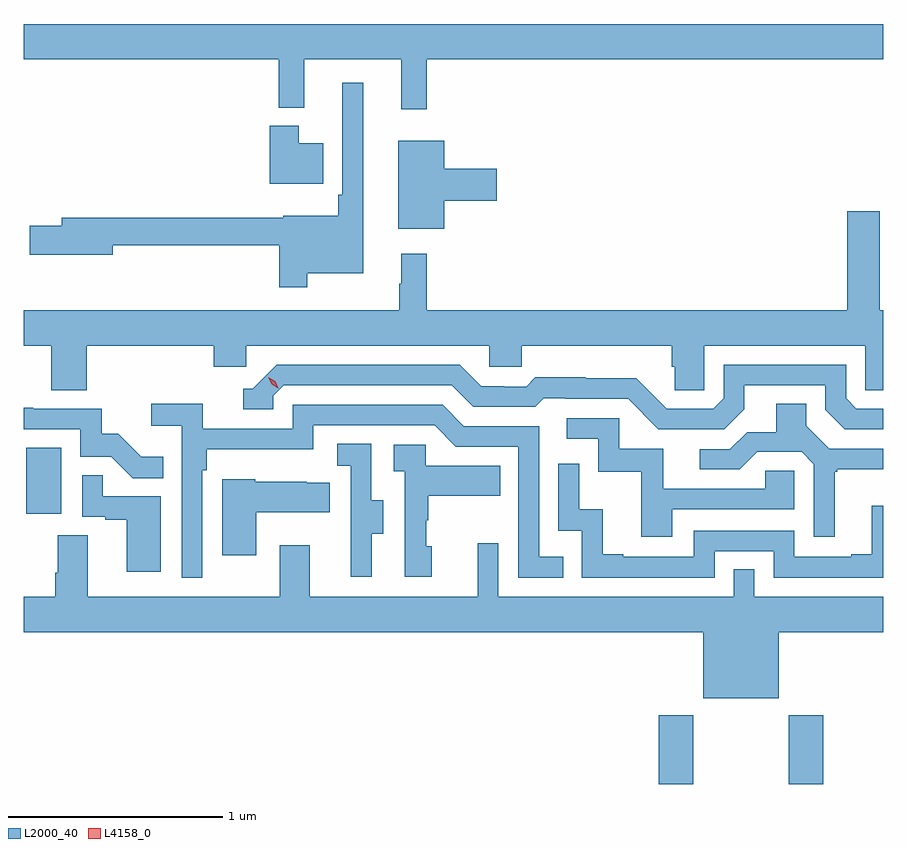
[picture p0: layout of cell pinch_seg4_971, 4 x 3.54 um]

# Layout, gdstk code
import gdstk
lib = gdstk.Library(unit=1e-6, precision=1e-09)
def R(c, l, rs):  # rectangles x0, y0, x1, y1
    for r in rs: c.add(gdstk.rectangle(r[:2], r[2:], *l))
def P(c, l, *ps):  # polygons
    for p in ps: c.add(gdstk.Polygon(p, *l))
L2000_40 = (2000, 40)
L4158_0 = (4158, 0)

pinch_seg4_971 = lib.new_cell('pinch_seg4_971')
R(pinch_seg4_971, L2000_40, [(858.683,786.789,858.843,787.108), (859.288,786.789,859.448,787.108), (855.74,788.046,855.904,788.353)])
P(pinch_seg4_971, L2000_40, [(857.603,790.16),(859.728,790.16),(859.728,790.324),(855.728,790.324),(855.728,790.16),(856.915,790.16),(856.915,789.935),(857.033,789.935),(857.033,790.16),(857.486,790.16),(857.486,789.927),(857.603,789.927)],
  [(857.047,789.164),(857.308,789.164),(857.308,790.051),(857.211,790.051),(857.211,789.529),(857.191,789.529),(857.191,789.433),(856.937,789.433),(856.937,789.422),(855.905,789.422),(855.905,789.386),(855.756,789.386),(855.756,789.251),(856.144,789.251),(856.144,789.294),(856.918,789.294),(856.918,789.099),(857.047,789.099)],
  [(857.122,789.769),(857.008,789.769),(857.008,789.85),(856.874,789.85),(856.874,789.581),(857.122,789.581)],
  [(857.686,789.503),(857.929,789.503),(857.929,789.65),(857.686,789.65),(857.686,789.781),(857.471,789.781),(857.471,789.371),(857.686,789.371)],
  [(857.603,789.256),(857.486,789.256),(857.486,789.116),(857.475,789.116),(857.475,788.992),(855.728,788.992),(855.728,788.828),(855.857,788.828),(855.857,788.62),(856.022,788.62),(856.022,788.828),(856.613,788.828),(856.613,788.73),(856.764,788.73),(856.764,788.828),(857.895,788.828),(857.895,788.73),(858.045,788.73),(858.045,788.828),(858.743,788.828),(858.743,788.73),(858.757,788.73),(858.757,788.62),(858.894,788.62),(858.894,788.828),(859.644,788.828),(859.644,788.62),(859.728,788.62),(859.728,788.992),(859.711,788.992),(859.711,789.454),(859.559,789.454),(859.559,788.992),(857.603,788.992)],
  [(859.081,788.533),(859.081,788.643),(859.458,788.643),(859.458,788.529),(859.548,788.439),(859.728,788.439),(859.728,788.535),(859.602,788.535),(859.554,788.583),(859.554,788.739),(858.984,788.739),(858.984,788.583),(858.936,788.535),(858.72,788.535),(858.578,788.677),(858.342,788.677),(858.342,788.68),(858.109,788.68),(858.067,788.637),(857.964,788.637),(857.964,788.64),(857.857,788.64),(857.758,788.739),(856.905,788.739),(856.794,788.628),(856.751,788.628),(856.751,788.532),(856.89,788.532),(856.89,788.595),(856.938,788.643),(857.721,788.643),(857.82,788.544),(858.109,788.544),(858.148,788.583),(858.247,788.583),(858.247,788.58),(858.54,788.58),(858.681,788.439),(858.987,788.439)],
  [(856.56,788.249),(856.58,788.249),(856.58,788.345),(857.076,788.345),(857.076,788.457),(857.64,788.457),(857.739,788.358),(858.03,788.358),(858.03,787.749),(858.239,787.749),(858.239,787.845),(858.126,787.845),(858.126,788.454),(857.776,788.454),(857.677,788.553),(856.98,788.553),(856.98,788.442),(856.562,788.442),(856.562,788.558),(856.323,788.558),(856.323,788.456),(856.464,788.456),(856.464,787.749),(856.56,787.749)],
  [(859.501,788.241),(859.513,788.241),(859.513,788.252),(859.726,788.252),(859.726,788.349),(859.476,788.349),(859.369,788.456),(859.369,788.558),(859.229,788.558),(859.229,788.426),(859.094,788.426),(859.014,788.346),(858.873,788.346),(858.873,788.253),(859.06,788.253),(859.141,788.334),(859.347,788.334),(859.404,788.277),(859.404,787.938),(859.501,787.938)],
  [(856.379,788.311),(856.275,788.311),(856.168,788.418),(856.092,788.418),(856.092,788.535),(855.773,788.535),(855.773,788.54),(855.728,788.54),(855.728,788.439),(855.993,788.439),(855.993,788.31),(856.137,788.31),(856.235,788.212),(856.379,788.212)],
  [(858.745,788.067),(859.314,788.067),(859.314,788.247),(859.177,788.247),(859.177,788.163),(858.703,788.163),(858.703,788.349),(858.498,788.349),(858.498,788.49),(858.255,788.49),(858.255,788.394),(858.402,788.394),(858.402,788.241),(858.601,788.241),(858.601,787.938),(858.745,787.938)],
  [(857.347,787.954),(857.401,787.954),(857.401,788.109),(857.346,788.109),(857.346,788.372),(857.187,788.372),(857.187,788.269),(857.25,788.269),(857.25,787.965),(857.249,787.965),(857.249,787.752),(857.347,787.752)],
  [(857.626,787.896),(857.601,787.896),(857.601,788.015),(857.611,788.015),(857.611,788.129),(857.945,788.129),(857.945,788.269),(857.598,788.269),(857.598,788.367),(857.451,788.367),(857.451,788.243),(857.502,788.243),(857.502,787.752),(857.626,787.752)],
  [(858.942,787.872),(859.218,787.872),(859.218,787.749),(859.728,787.749),(859.728,788.083),(859.673,788.083),(859.673,787.858),(859.577,787.858),(859.577,787.845),(859.314,787.845),(859.314,787.968),(858.846,787.968),(858.846,787.845),(858.517,787.845),(858.517,787.858),(858.422,787.858),(858.422,788.066),(858.312,788.066),(858.312,788.278),(858.216,788.278),(858.216,787.968),(858.324,787.968),(858.324,787.749),(858.942,787.749)],
  [(856.366,788.127),(856.097,788.127),(856.097,788.225),(856.002,788.225),(856.002,788.031),(856.109,788.031),(856.109,788.019),(856.208,788.019),(856.208,787.776),(856.366,787.776)],
  [(856.81,788.054),(857.153,788.054),(857.153,788.191),(857.045,788.191),(857.045,788.194),(856.806,788.194),(856.806,788.206),(856.652,788.206),(856.652,787.854),(856.81,787.854)],
  [(859.24,787.496),(859.728,787.496),(859.728,787.66),(859.128,787.66),(859.128,787.787),(859.032,787.787),(859.032,787.66),(857.937,787.66),(857.937,787.909),(857.84,787.909),(857.84,787.66),(857.059,787.66),(857.059,787.9),(856.919,787.9),(856.919,787.66),(856.027,787.66),(856.027,787.946),(855.887,787.946),(855.887,787.772),(855.875,787.772),(855.875,787.66),(855.728,787.66),(855.728,787.496),(858.89,787.496),(858.89,787.187),(859.24,787.187)])
P(pinch_seg4_971, L4158_0, [(856.914,788.629),(856.883,788.648),(856.866,788.68),(856.866,788.681),(856.866,788.681),(856.898,788.662),(856.914,788.629),(856.914,788.629)])

lib.write_gds('pinch_seg4_971.gds')
